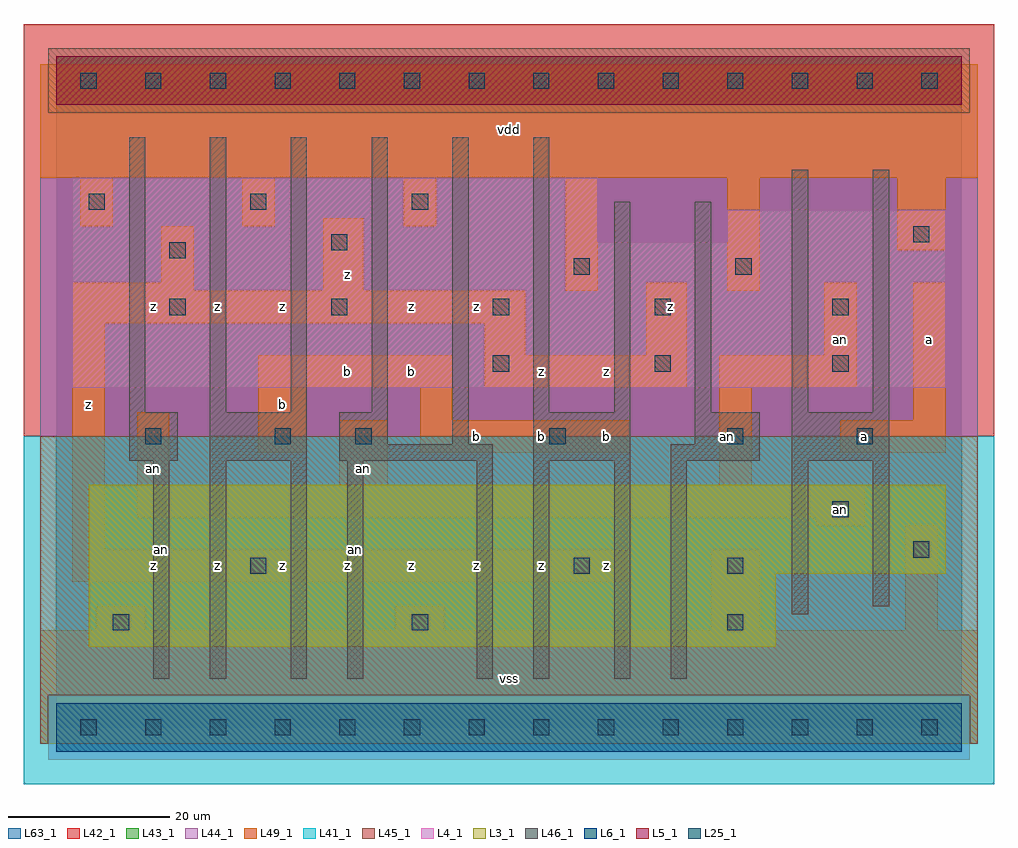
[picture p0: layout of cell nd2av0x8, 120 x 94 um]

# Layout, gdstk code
import gdstk
lib = gdstk.Library(unit=1e-6, precision=1e-09)
def R(c, l, rs):  # rectangles x0, y0, x1, y1
    for r in rs: c.add(gdstk.rectangle(r[:2], r[2:], *l))
def A(c, l, x, y, w, h, nx, ny, dx, dy):  # array of equal rectangles
    R(c, l, [(x+i*dx, y+j*dy, x+i*dx+w, y+j*dy+h) for i in range(nx) for j in range(ny)])
L3_1 = (3, 1)
L4_1 = (4, 1)
L5_1 = (5, 1)
L6_1 = (6, 1)
L25_1 = (25, 1)
L41_1 = (41, 1)
L42_1 = (42, 1)
L43_1 = (43, 1)
L44_1 = (44, 1)
L45_1 = (45, 1)
L46_1 = (46, 1)
L49_1 = (49, 1)
L63_1 = (63, 1)

nd2av0x8 = lib.new_cell('nd2av0x8')
R(nd2av0x8, L3_1, [(4,10,89,19), (4,19,110,30)])
R(nd2av0x8, L4_1, [(2,42,110,60), (2,60,67,68), (83,60,110,64)])
R(nd2av0x8, L5_1, [(0,77,112,83)])
R(nd2av0x8, L6_1, [(0,-3,112,3), (0,-3,112,3)])
A(nd2av0x8, L25_1, 3, -1, 2, 2, 14, 2, 8, 80)
A(nd2av0x8, L25_1, 14, 51, 2, 2, 4, 1, 20, 0)
A(nd2av0x8, L25_1, 4, 64, 2, 2, 3, 1, 20, 0)
R(nd2av0x8, L25_1, [(7,12,9,14), (44,12,46,14), (83,12,85,14), (24,19,26,21), (64,19,66,21), (83,19,85,21), (106,21,108,23), (96,26,98,28), (11,35,13,37), (27,35,29,37), (37,35,39,37), (61,35,63,37), (83,35,85,37), (99,35,101,37), (54,44,56,46), (74,44,76,46), (96,44,98,46), (96,51,98,53), (64,56,66,58), (84,56,86,58), (14,58,16,60), (34,59,36,61), (106,60,108,62)])
R(nd2av0x8, L41_1, [(-4,-7,116,36)])
R(nd2av0x8, L42_1, [(-4,36,116,87)])
R(nd2av0x8, L43_1, [(0,-3,112,3), (4,10,89,19), (4,19,110,30), (2,42,110,60), (2,60,67,68), (83,60,110,64), (0,77,112,83)])
R(nd2av0x8, L44_1, [(-1,-4,113,4), (-2,36,114,76), (-2,76,-1,82), (113,76,114,82)])
R(nd2av0x8, L45_1, [(-2,-2,-1,4), (113,-2,114,4), (-2,4,114,36), (-1,76,113,84)])
A(nd2av0x8, L46_1, 9, 39, 2, 34, 4, 1, 10, 0)
R(nd2av0x8, L46_1, [(12,6,14,33), (19,6,21,33), (29,6,31,33), (36,6,38,33), (52,6,54,33), (59,6,61,33), (69,6,71,33), (76,6,78,33), (91,14,93,33), (101,15,103,33), (9,33,15,39), (19,33,31,39), (35,33,54,35), (59,33,71,39), (76,33,87,35), (91,33,103,39), (35,35,41,39), (49,35,51,73), (79,35,87,39), (59,39,61,73), (69,39,71,65), (79,39,81,65), (91,39,93,69), (101,39,103,69)])
A(nd2av0x8, L49_1, 3, 62, 4, 6, 3, 1, 20, 0)
R(nd2av0x8, L49_1, [(-2,-2,114,12), (5,12,11,15), (42,12,48,15), (81,12,87,22), (105,12,109,25), (2,18,71,22), (2,22,6,50), (94,25,100,26), (10,26,100,30), (10,30,14,39), (35,30,41,38), (82,30,86,42), (25,34,31,42), (45,34,71,38), (97,34,110,38), (45,38,49,42), (106,38,110,55), (25,42,49,46), (53,42,78,46), (82,42,99,46), (53,46,58,50), (73,46,78,55), (95,46,99,55), (2,50,58,54), (2,54,17,55), (33,54,38,63), (63,54,67,68), (83,54,87,68), (13,55,17,62), (104,59,110,68), (-2,68,114,82)])
R(nd2av0x8, L63_1, [(0,0,112,80)])
nd2av0x8.add(gdstk.Label('an', (13,22), layer=46, texttype=1))
nd2av0x8.add(gdstk.Label('an', (37,22), layer=46, texttype=1))
nd2av0x8.add(gdstk.Label('an', (83,36), layer=49, texttype=1))
nd2av0x8.add(gdstk.Label('z', (12,20), layer=49, texttype=1))
nd2av0x8.add(gdstk.Label('an', (12,32), layer=49, texttype=1))
nd2av0x8.add(gdstk.Label('z', (4,40), layer=49, texttype=1))
nd2av0x8.add(gdstk.Label('z', (12,52), layer=49, texttype=1))
nd2av0x8.add(gdstk.Label('z', (20,20), layer=49, texttype=1))
nd2av0x8.add(gdstk.Label('z', (28,20), layer=49, texttype=1))
nd2av0x8.add(gdstk.Label('z', (36,20), layer=49, texttype=1))
nd2av0x8.add(gdstk.Label('an', (38,32), layer=49, texttype=1))
nd2av0x8.add(gdstk.Label('b', (28,40), layer=49, texttype=1))
nd2av0x8.add(gdstk.Label('b', (36,44), layer=49, texttype=1))
nd2av0x8.add(gdstk.Label('z', (28,52), layer=49, texttype=1))
nd2av0x8.add(gdstk.Label('z', (20,52), layer=49, texttype=1))
nd2av0x8.add(gdstk.Label('z', (36,56), layer=49, texttype=1))
nd2av0x8.add(gdstk.Label('vss', (56,6), layer=49, texttype=1))
nd2av0x8.add(gdstk.Label('z', (44,20), layer=49, texttype=1))
nd2av0x8.add(gdstk.Label('z', (52,20), layer=49, texttype=1))
nd2av0x8.add(gdstk.Label('z', (60,20), layer=49, texttype=1))
nd2av0x8.add(gdstk.Label('b', (44,44), layer=49, texttype=1))
nd2av0x8.add(gdstk.Label('b', (52,36), layer=49, texttype=1))
nd2av0x8.add(gdstk.Label('b', (60,36), layer=49, texttype=1))
nd2av0x8.add(gdstk.Label('z', (60,44), layer=49, texttype=1))
nd2av0x8.add(gdstk.Label('z', (52,52), layer=49, texttype=1))
nd2av0x8.add(gdstk.Label('z', (44,52), layer=49, texttype=1))
nd2av0x8.add(gdstk.Label('vdd', (56,74), layer=49, texttype=1))
nd2av0x8.add(gdstk.Label('z', (68,20), layer=49, texttype=1))
nd2av0x8.add(gdstk.Label('an', (84,36), layer=49, texttype=1))
nd2av0x8.add(gdstk.Label('b', (68,36), layer=49, texttype=1))
nd2av0x8.add(gdstk.Label('z', (68,44), layer=49, texttype=1))
nd2av0x8.add(gdstk.Label('z', (76,52), layer=49, texttype=1))
nd2av0x8.add(gdstk.Label('an', (97,27), layer=49, texttype=1))
nd2av0x8.add(gdstk.Label('a', (100,36), layer=49, texttype=1))
nd2av0x8.add(gdstk.Label('a', (108,48), layer=49, texttype=1))
nd2av0x8.add(gdstk.Label('an', (97,48), layer=49, texttype=1))

lib.write_gds('nd2av0x8.gds')
